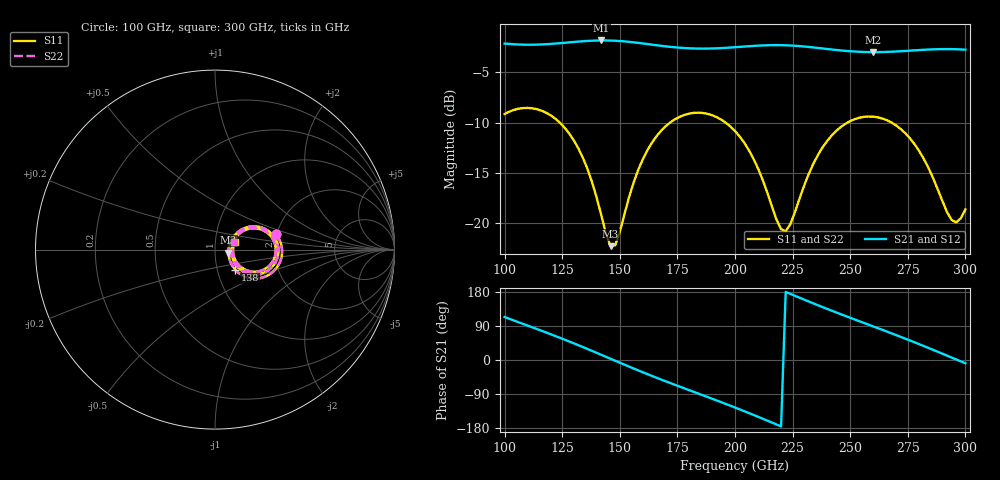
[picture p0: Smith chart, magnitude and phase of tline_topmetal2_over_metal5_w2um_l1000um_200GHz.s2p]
#  GHZ S DB R 50
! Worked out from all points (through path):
!   101 points, 100 GHz to 300 GHz, reference 50 ohm
!   highest |S21| = -1.83 dB at 142 GHz (marker M1); lowest = -3.0 dB at 260 GHz (marker M2)
!   group delay of S21, straight-line fit = 6.7 ps
!   lowest |S11| = -22.3 dB at 146 GHz (marker M3), VSWR 1.17, Z = 58.1 - j1.9 ohm
!   |S11| at or under -10 dB: 124 GHz to 171.8 GHz (47.87 GHz wide, 32.4 % of centre); 195.9 GHz to 248.8 GHz (52.87 GHz wide, 23.8 % of centre); 268 GHz to end of sweep
!   |S22| runs from -22.4 to -8.5 dB; largest |S21 - S12| = 1.4e-13
!   S11 on the Smith chart (normalised r, x): 100 GHz: 1.97, +0.39; 138 GHz: 1.22, -0.28; 300 GHz: 1.24, +0.10
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100  -9.15 14.6  -2.14 113.4  -2.14 113.4  -9.15 14.5
118  -9.01 -18.0  -2.20 72.6  -2.20 72.6  -9.02 -18.2
134  -13.51 -43.0  -1.91 34.1  -1.91 34.1  -13.52 -43.3
138  -15.95 -44.7  -1.85 23.9  -1.85 23.9  -15.97 -45.1
142  -19.25 -38.4  -1.83 13.6  -1.83 13.6  -19.29 -38.8
146  -22.29 -12.2  -1.84 3.2  -1.84 3.2  -22.37 -12.5
148  -22.21 7.2  -1.86 -1.9  -1.86 -1.9  -22.29 7.2
156  -15.96 37.5  -2.02 -22.4  -2.02 -22.4  -15.97 37.6
168  -10.79 25.3  -2.36 -51.7  -2.36 -51.7  -10.80 25.2
184  -9.01 -1.7  -2.64 -88.4  -2.64 -88.4  -9.02 -1.9
200  -10.84 -27.9  -2.50 -125.4  -2.50 -125.4  -10.85 -28.3
212  -15.69 -37.9  -2.32 -154.9  -2.32 -154.9  -15.73 -38.6
218  -19.64 -24.0  -2.29 -170.1  -2.29 -170.1  -19.77 -24.7
222  -20.79 2.0  -2.31 179.6  -2.31 179.6  -20.97 1.9
234  -14.10 33.1  -2.52 149.4  -2.52 149.4  -14.14 33.4
246  -10.42 19.0  -2.82 120.7  -2.82 120.7  -10.44 19.1
260  -9.41 -3.5  -2.99 88.6  -2.99 88.6  -9.42 -3.5
268  -10.00 -16.3  -2.95 70.2  -2.95 70.2  -10.01 -16.4
278  -12.17 -29.9  -2.81 46.5  -2.81 46.5  -12.18 -30.2
286  -15.53 -33.5  -2.71 26.7  -2.71 26.7  -15.57 -33.9
294  -19.67 -11.3  -2.69 6.6  -2.69 6.6  -19.80 -11.6
300  -18.63 20.1  -2.75 -8.6  -2.75 -8.6  -18.74 20.4
